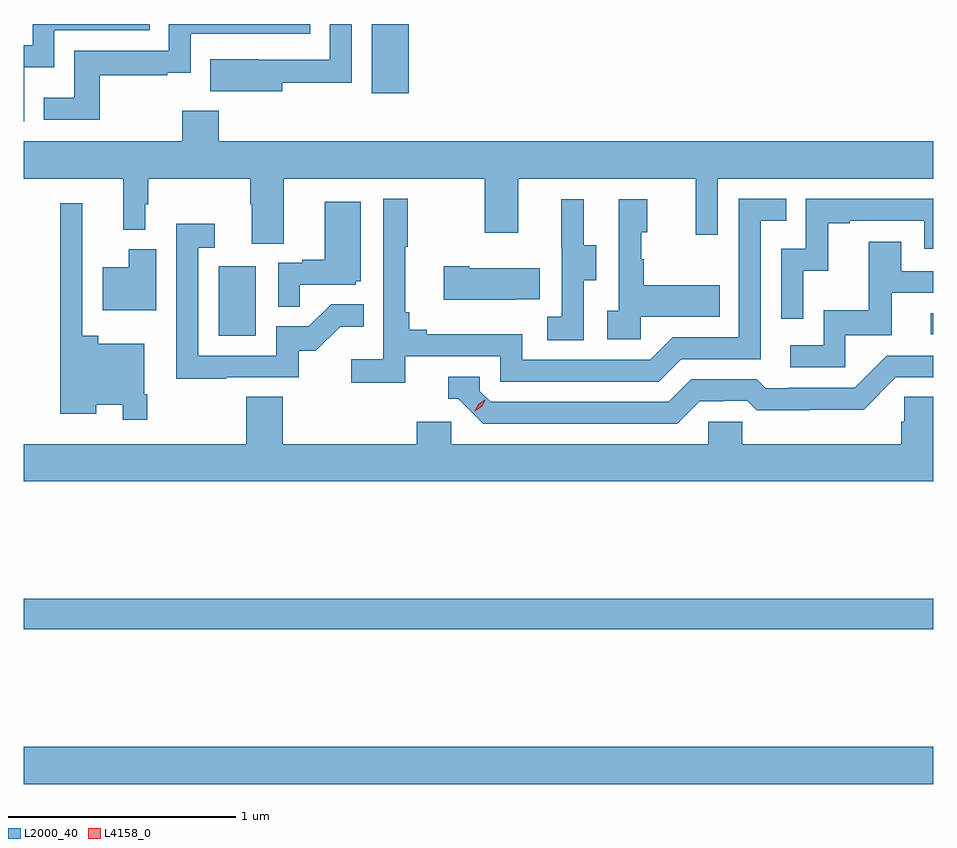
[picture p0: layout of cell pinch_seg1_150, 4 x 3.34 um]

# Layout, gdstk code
import gdstk
lib = gdstk.Library(unit=1e-6, precision=1e-09)
def R(c, l, rs):  # rectangles x0, y0, x1, y1
    for r in rs: c.add(gdstk.rectangle(r[:2], r[2:], *l))
def P(c, l, *ps):  # polygons
    for p in ps: c.add(gdstk.Polygon(p, *l))
L2000_40 = (2000, 40)
L4158_0 = (4158, 0)

pinch_seg1_150 = lib.new_cell('pinch_seg1_150')
R(pinch_seg1_150, L2000_40, [(1101.97,558.392,1105.97,558.556), (1101.97,559.072,1105.97,559.208), (1102.826,560.364,1102.99,560.671), (1105.959,560.37,1105.97,560.463), (1103.501,561.432,1103.662,561.736)])
P(pinch_seg1_150, L2000_40, [(1101.972,561.545),(1102.104,561.545),(1102.104,561.708),(1102.523,561.708),(1102.523,561.736),(1102.008,561.736),(1102.008,561.643),(1101.97,561.643),(1101.97,561.309),(1101.972,561.309)],
  [(1102.303,561.51),(1102.601,561.51),(1102.601,561.521),(1102.704,561.521),(1102.704,561.693),(1103.23,561.693),(1103.23,561.736),(1102.608,561.736),(1102.608,561.618),(1102.192,561.618),(1102.192,561.412),(1102.057,561.412),(1102.057,561.315),(1102.303,561.315)],
  [(1103.107,561.478),(1103.412,561.478),(1103.412,561.736),(1103.316,561.736),(1103.316,561.579),(1103.003,561.579),(1103.003,561.58),(1102.789,561.58),(1102.789,561.44),(1103.107,561.44)],
  [(1103.113,561.056),(1103.998,561.056),(1103.998,560.817),(1104.145,560.817),(1104.145,561.056),(1104.926,561.056),(1104.926,560.808),(1105.023,560.808),(1105.023,561.056),(1105.97,561.056),(1105.97,561.22),(1102.826,561.22),(1102.826,561.355),(1102.666,561.355),(1102.666,561.22),(1101.97,561.22),(1101.97,561.056),(1102.406,561.056),(1102.406,560.831),(1102.504,560.831),(1102.504,560.944),(1102.516,560.944),(1102.516,561.056),(1102.966,561.056),(1102.966,560.944),(1102.973,560.944),(1102.973,560.77),(1103.113,560.77)],
  [(1103.648,560.274),(1104.066,560.274),(1104.066,560.163),(1104.763,560.163),(1104.862,560.262),(1105.212,560.262),(1105.212,560.871),(1105.325,560.871),(1105.325,560.967),(1105.116,560.967),(1105.116,560.358),(1104.825,560.358),(1104.726,560.259),(1104.162,560.259),(1104.162,560.371),(1103.743,560.371),(1103.743,560.39),(1103.666,560.39),(1103.666,560.467),(1103.647,560.467),(1103.647,560.755),(1103.659,560.755),(1103.659,560.968),(1103.55,560.968),(1103.55,560.26),(1103.409,560.26),(1103.409,560.158),(1103.648,560.158)],
  [(1105.398,560.651),(1105.508,560.651),(1105.508,560.859),(1105.603,560.859),(1105.603,560.871),(1105.932,560.871),(1105.932,560.748),(1105.97,560.748),(1105.97,560.967),(1105.41,560.967),(1105.41,560.748),(1105.302,560.748),(1105.302,560.439),(1105.398,560.439)],
  [(1104.684,560.447),(1105.031,560.447),(1105.031,560.587),(1104.697,560.587),(1104.697,560.702),(1104.687,560.702),(1104.687,560.82),(1104.712,560.82),(1104.712,560.965),(1104.588,560.965),(1104.588,560.474),(1104.537,560.474),(1104.537,560.349),(1104.684,560.349)],
  [(1104.432,560.608),(1104.487,560.608),(1104.487,560.763),(1104.433,560.763),(1104.433,560.965),(1104.335,560.965),(1104.335,560.751),(1104.336,560.751),(1104.336,560.447),(1104.273,560.447),(1104.273,560.344),(1104.432,560.344)],
  [(1103.183,560.589),(1103.43,560.589),(1103.43,560.604),(1103.452,560.604),(1103.452,560.953),(1103.294,560.953),(1103.294,560.698),(1103.195,560.698),(1103.195,560.685),(1103.088,560.685),(1103.088,560.491),(1103.183,560.491)],
  [(1102.513,560.107),(1102.5,560.107),(1102.5,560.329),(1102.296,560.329),(1102.296,560.365),(1102.227,560.365),(1102.227,560.947),(1102.13,560.947),(1102.13,560.021),(1102.288,560.021),(1102.288,560.06),(1102.404,560.06),(1102.404,559.995),(1102.513,559.995)],
  [(1102.859,560.181),(1103.178,560.181),(1103.178,560.298),(1103.254,560.298),(1103.361,560.405),(1103.465,560.405),(1103.465,560.504),(1103.321,560.504),(1103.223,560.406),(1103.079,560.406),(1103.079,560.277),(1102.737,560.277),(1102.737,560.751),(1102.81,560.751),(1102.81,560.857),(1102.641,560.857),(1102.641,560.176),(1102.859,560.176)],
  [(1105.584,560.367),(1105.789,560.367),(1105.789,560.553),(1105.97,560.553),(1105.97,560.649),(1105.831,560.649),(1105.831,560.779),(1105.687,560.779),(1105.687,560.476),(1105.488,560.476),(1105.488,560.322),(1105.341,560.322),(1105.341,560.226),(1105.584,560.226)],
  [(1102.552,560.746),(1102.43,560.746),(1102.43,560.665),(1102.316,560.665),(1102.316,560.477),(1102.552,560.477)],
  [(1104.131,560.525),(1104.239,560.525),(1104.239,560.662),(1103.929,560.662),(1103.929,560.67),(1103.817,560.67),(1103.817,560.522),(1104.131,560.522)],
  [(1104.943,560.076),(1105.05,560.076),(1105.05,560.079),(1105.153,560.079),(1105.195,560.037),(1105.428,560.037),(1105.428,560.039),(1105.664,560.039),(1105.806,560.181),(1105.97,560.181),(1105.97,560.277),(1105.767,560.277),(1105.626,560.136),(1105.333,560.136),(1105.333,560.133),(1105.234,560.133),(1105.195,560.172),(1104.906,560.172),(1104.807,560.073),(1104.024,560.073),(1103.976,560.121),(1103.976,560.184),(1103.837,560.184),(1103.837,560.088),(1103.88,560.088),(1103.991,559.977),(1104.844,559.977)],
  [(1105.97,560.096),(1105.843,560.096),(1105.843,559.986),(1105.829,559.986),(1105.829,559.888),(1105.131,559.888),(1105.131,559.986),(1104.981,559.986),(1104.981,559.888),(1103.85,559.888),(1103.85,559.986),(1103.699,559.986),(1103.699,559.888),(1103.108,559.888),(1103.108,560.096),(1102.948,560.096),(1102.948,559.888),(1101.97,559.888),(1101.97,559.724),(1105.97,559.724)])
P(pinch_seg1_150, L4158_0, [(1103.954,560.033),(1103.954,560.034),(1103.971,560.066),(1104.002,560.086),(1104.002,560.086),(1104.002,560.085),(1103.985,560.053),(1103.954,560.033)])

lib.write_gds('pinch_seg1_150.gds')
